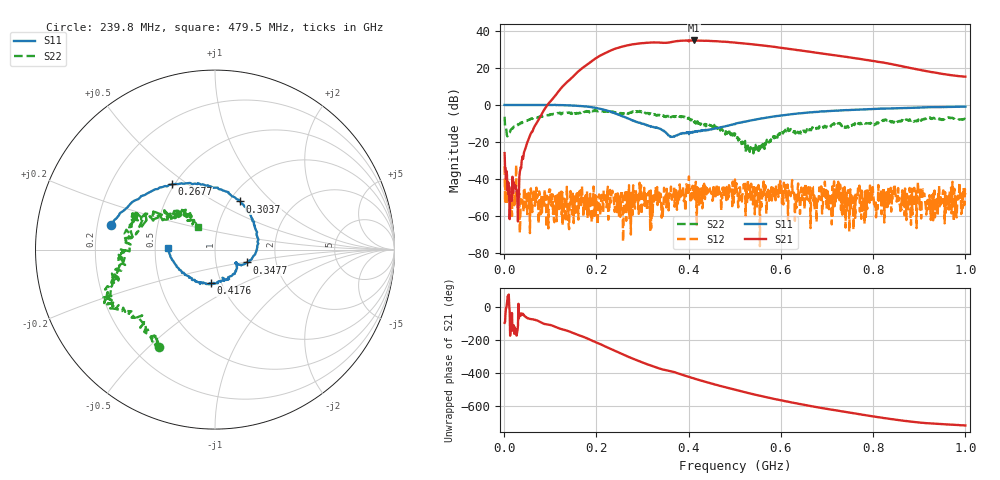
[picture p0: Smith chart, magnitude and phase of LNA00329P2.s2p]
! Created with skrf 1.9.0 (http://scikit-rf.org).
# Hz S RI R 50.0
!freq ReS11 ImS11 ReS21 ImS21 ReS12 ImS12 ReS22 ImS22
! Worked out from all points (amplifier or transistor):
!   1001 points, 1 MHz to 1 GHz, reference 50 ohm
!   highest |S21| = 34.9 dB at 410.6 MHz (marker M1)
!   |S21| within 3 dB of that: 261.9 MHz to 569.9 MHz (308.1 MHz wide, 74.1 % of centre)
!   unconditionally stable (mu >= 1): 215.9 MHz to 293.4 MHz; 296.8 MHz to 400.6 MHz; 400.6 MHz to end of sweep (the widest 3 of 29)
!   at 166.8 MHz: K = 2.77, MAG = 29.5 dB, |S12| = -54.2 dB
!   at 500.5 MHz: K = 1.22, MAG = 34.2 dB, |S12| = -40.4 dB
!   at 1 GHz: K = 3.97, MAG = 22.9 dB, |S12| = -48.4 dB
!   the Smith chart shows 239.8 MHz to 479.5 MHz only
!   S11 on the Smith chart (normalised r, x): 239.8 MHz: 0.26, +0.11; 267.7 MHz: 0.49, +0.44; 303.7 MHz: 1.12, +0.66; 347.7 MHz: 1.41, -0.21; 417.6 MHz: 0.89, -0.35; 479.5 MHz: 0.58, +0.01
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1000000  0.9981 0.0172  -0.00545 -0.0494  -0.0221 0.00142  0.3139 0.3607
1.07893e8  0.512 -0.8546  -0.7308 -1.445  0.000762 -5.86e-05  0.4309 -0.3706
1.67833e8  -0.2662 -0.8901  -9.575 -0.5578  0.00408 -0.00184  0.037 -0.6364
2.08792e8  -0.6898 -0.3721  -15.22 15.57  -0.000792 0.000986  -0.2103 -0.6707
2.39761e8  -0.5774 0.1388  -2.568 32.87  0.000928 -0.000872  -0.3099 -0.5428
2.67733e8  -0.2397 0.3634  20.34 35.71  -0.00137 0.000535  -0.4742 -0.3534
2.84716e8  -0.0354 0.3544  33.72 29.58  -0.0049 -0.000491  -0.5809 -0.3007
3.03697e8  0.1399 0.2682  44.57 16.2  -0.00545 0.00175  -0.5994 -0.2171
3.34666e8  0.2329 0.000236  48.08 -8.801  0.000871 0.00272  -0.5229 -0.0634
3.47653e8  0.1778 -0.0717  44.98 -16.86  -0.0047 0.00078  -0.4758 0.0142
3.75625e8  0.1213 -0.0927  40.9 -34.67  0.0026 0.00198  -0.4594 0.1867
4.1059e8  0.0167 -0.1804  17.64 -52.7  -0.00327 -0.000893  -0.3354 0.21
4.17583e8  -0.0236 -0.1877  12.03 -53.82  -0.000443 0.000346  -0.283 0.2077
4.45555e8  -0.1645 -0.1411  -8.956 -53.19  0.00385 0.00413  -0.2048 0.2046
4.79521e8  -0.2627 0.00718  -29.71 -41.73  0.00453 -0.00228  -0.0975 0.1251
5.005e8  -0.2725 0.1276  -37.7 -31.01  0.00154 -0.00948  -0.1246 0.1141
5.4046e8  -0.2036 0.3341  -42.3 -9.317  0.00343 -0.00489  -0.0377 0.0315
5.88412e8  0.00534 0.4935  -35.14 11.17  0.00254 -0.000685  -0.1133 -0.0636
6.67333e8  0.3902 0.4993  -13.25 23.28  -0.00353 -0.00214  -0.2314 -0.0304
7.53247e8  0.6741 0.2907  3.442 18.63  0.00152 -0.00318  -0.283 0.0261
8.34166e8  0.7988 0.0246  9.353 9.229  -0.00209 0.00028  -0.3777 0.0445
1e9  0.7317 -0.5231  5.811 0.3999  -0.00104 -0.00365  -0.2112 0.3497
